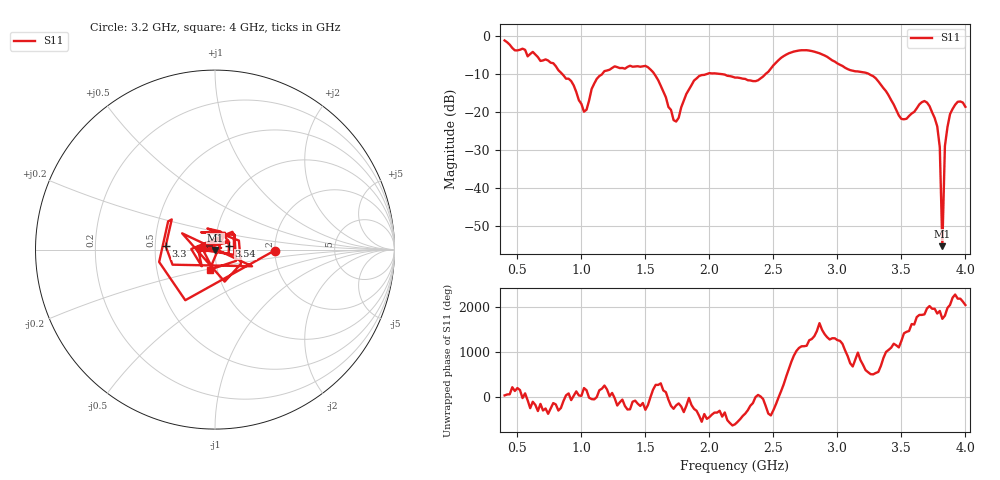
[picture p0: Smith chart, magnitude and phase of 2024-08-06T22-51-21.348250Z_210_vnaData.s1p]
!Created with skrf (http://scikit-rf.org).
# Hz S RI R 50.0
!freq ReS11 ImS11
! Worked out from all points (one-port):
!   181 points, 400 MHz to 4 GHz, reference 50 ohm
!   lowest |S11| = -55.4 dB at 3.82 GHz (marker M1), VSWR 1.00, Z = 50.1 - j0.137 ohm
!   |S11| at or under -10 dB: 1.569 GHz to 1.986 GHz (417 MHz wide, 23.5 % of centre); 2.078 GHz to 2.44 GHz (362 MHz wide, 16 % of centre); 3.244 GHz to end of sweep (the widest 3 of 4)
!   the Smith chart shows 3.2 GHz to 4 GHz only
!   S11 on the Smith chart (normalised r, x): 3.2 GHz: 1.99, -0.02; 3.3 GHz: 0.57, +0.02; 3.54 GHz: 1.17, +0.05; 4 GHz: 0.92, -0.21
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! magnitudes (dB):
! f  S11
! 400 MHz  -1.2
! 860 MHz  -10.4
! 940 MHz  -13.1
! 1.02 GHz  -20.0
! 1.12 GHz  -11.3
! 1.3 GHz  -8.5
! 1.52 GHz  -8.3
! 1.6 GHz  -11.7
! 1.72 GHz  -22.2
! 1.76 GHz  -21.6
! 1.82 GHz  -15.3
! 1.92 GHz  -10.6
! 2.2 GHz  -11.0
! 2.38 GHz  -11.7
! 2.66 GHz  -4.1
! 3.1 GHz  -9.0
! 3.2 GHz  -9.6
! 3.3 GHz  -11.2
! 3.54 GHz  -21.8
! 3.56 GHz  -21.1
! 3.68 GHz  -17.2
! 3.78 GHz  -23.8
! 3.8 GHz  -29.3
! 3.82 GHz  -55.4
! 3.84 GHz  -29.0
! 3.86 GHz  -24.0
! 3.94 GHz  -17.4
! 4 GHz  -18.7
